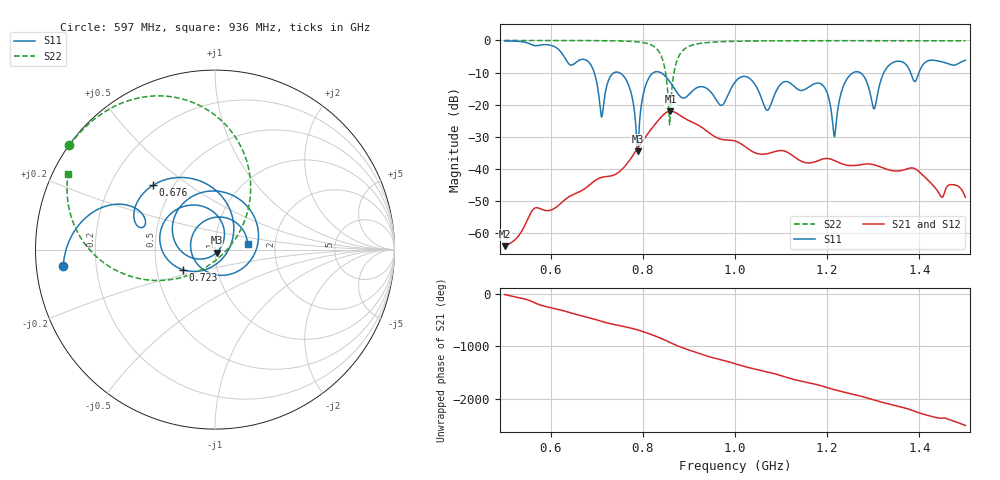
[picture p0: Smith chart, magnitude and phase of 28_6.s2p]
! TOUCHSTONE file generated by CST MICROWAVE STUDIO
! Date and time: Tue Nov 24 13:44:56 2020
! Project name: Scenario_1_Planar_Body_Tissue_Out_of_Line.cst
! Parameters = {dy1=121.1; L_HA=400; Ltissue=700; MT=2.54; Rad_Dielectric=30; Rad_Lower=7.3; Rad_Upper=30; Wtissue=700; a_HA=580; a_WG=246; b_HA=500; b_WG=121; c_HA=0; c_WG=187; d_feed=85; dx1=1039; h_feed=15; h_lower=18; h_upper=40; hfat=3; hgap=25; hmuscle=50; hskin=1.5}
! Header version: 2018
! Port assignment regex: !\s*Touchstone port\s*([0-9]+)\s*=\s*(CST MWS port|CST DS port)\s*([0-9]+|Zmin|Zmax)\s*\(\"(.*)\"\)(\s*mode\s*([0-9]+))?.*
! Touchstone port assignment:
! Touchstone port 1 = CST MWS port 1 ("")
! Touchstone port 2 = CST MWS port 2 ("")
# GHz S DB R 50
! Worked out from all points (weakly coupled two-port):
!   1003 points, 500 MHz to 1.5 GHz, reference 50 ohm
!   highest |S21| = -21.99 dB at 860 MHz (marker M1); lowest = -64.0 dB at 500 MHz (marker M2)
!   lowest |S11| = -34.5 dB at 789 MHz (marker M3), VSWR 1.04, Z = 50.8 - j1.72 ohm
!   |S11| at or under -10 dB: 748.7 MHz to 823.3 MHz (74.61 MHz wide, 9.49 % of centre); 838.5 MHz to 1.257 GHz (418.4 MHz wide, 39.9 % of centre); 1.271 GHz to 1.323 GHz (51.68 MHz wide, 3.98 % of centre) (the widest 3 of 5)
!   |S22| runs from -26.3 to 0.0 dB; largest |S21 - S12| = 6.6e-05
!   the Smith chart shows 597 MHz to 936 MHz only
!   S11 on the Smith chart (normalised r, x): 597 MHz: 0.08, -0.05; 676 MHz: 0.39, +0.37; 723 MHz: 0.68, -0.16; 936 MHz: 1.44, +0.10
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0.5  -0.16 -121.6  -64.00 -18.7  -64.00 -18.7  -0.01 151.2
0.597  -1.41 -174.0  -52.89 96.9  -52.89 96.9  -0.02 144.4
0.667  -5.91 149.9  -46.75 -61.7  -46.75 -61.7  -0.04 138.4
0.676  -6.05 134.1  -45.90 -81.4  -45.90 -81.4  -0.05 137.5
0.71  -23.77 -27.8  -42.62 -166.9  -42.62 -166.9  -0.08 133.6
0.723  -13.46 -148.3  -42.33 161.7  -42.33 161.7  -0.10 131.9
0.762  -11.85 107.8  -38.99 88.9  -38.98 88.9  -0.22 125.1
0.789  -34.48 -63.4  -33.50 28.8  -33.50 28.9  -0.46 117.4
0.807  -13.61 175.8  -29.76 -21.8  -29.76 -21.8  -0.86 109.1
0.834  -9.76 85.0  -24.77 -109.5  -24.77 -109.5  -3.29 83.9
0.86  -13.11 -6.2  -21.99 147.6  -21.99 147.6  -21.90 -104.4
0.88  -17.27 -95.2  -23.26 71.8  -23.26 71.8  -4.41 -171.4
0.936  -14.70 10.1  -27.87 -96.2  -27.87 -96.2  -0.71 152.6
1  -12.98 58.5  -31.28 109.5  -31.28 109.5  -0.27 140.3
1.07  -21.74 145.4  -35.24 -45.9  -35.24 -45.9  -0.13 132.5
1.118  -13.10 -80.9  -35.16 -166.0  -35.16 -166.0  -0.11 128.2
1.167  -13.86 74.3  -38.02 94.5  -38.02 94.5  -0.10 124.2
1.216  -29.92 -152.7  -37.39 -24.8  -37.39 -24.8  -0.09 120.5
1.248  -11.04 53.1  -38.90 -92.9  -38.90 -92.9  -0.09 118.0
1.302  -21.29 15.3  -38.69 139.6  -38.69 139.6  -0.08 114.0
1.334  -7.76 24.4  -40.27 64.4  -40.27 64.4  -0.09 111.6
1.5  -6.21 -43.3  -48.79 17.8  -48.79 17.8  -0.13 98.0
